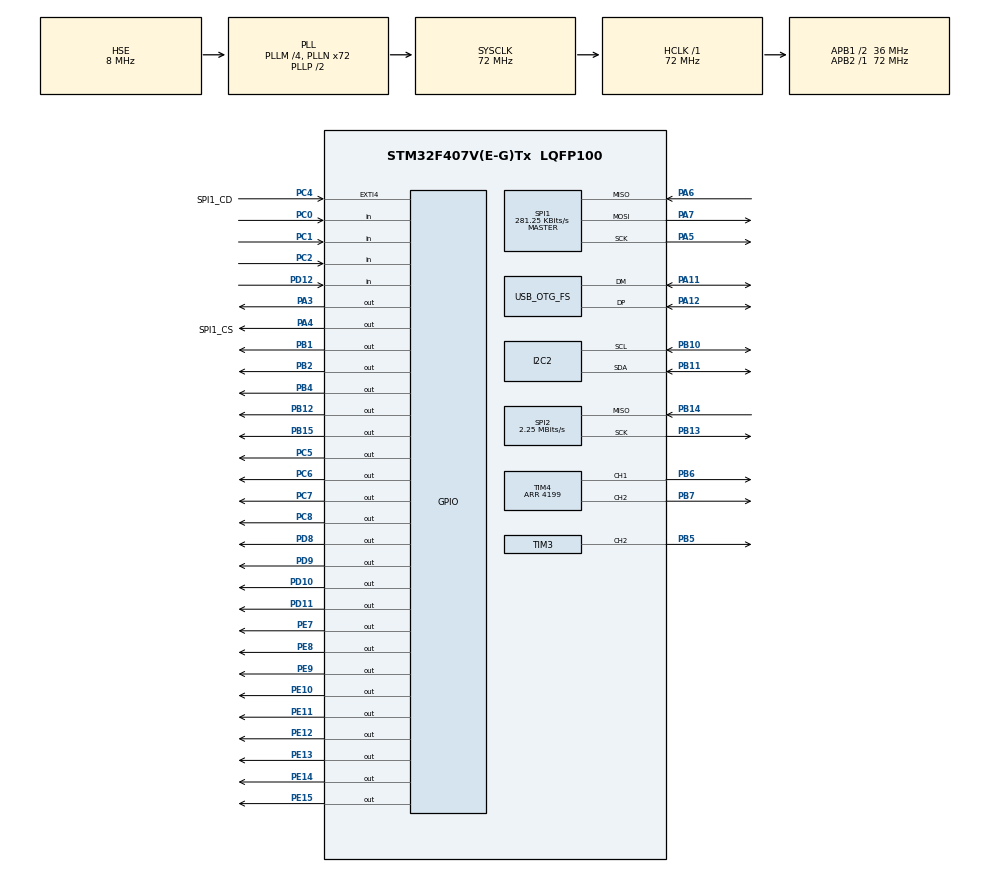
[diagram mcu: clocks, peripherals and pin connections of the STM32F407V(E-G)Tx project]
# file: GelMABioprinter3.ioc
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Dma.Request0=SPI2_RX
Dma.SPI2_RX.0.Direction=DMA_PERIPH_TO_MEMORY
Dma.SPI2_RX.0.FIFOMode=DMA_FIFOMODE_DISABLE
Dma.SPI2_RX.0.Instance=DMA1_Stream3
Dma.SPI2_RX.0.MemDataAlignment=DMA_MDATAALIGN_BYTE
Dma.SPI2_RX.0.MemInc=DMA_MINC_ENABLE
Dma.SPI2_RX.0.Mode=DMA_NORMAL
Dma.SPI2_RX.0.PeriphDataAlignment=DMA_PDATAALIGN_BYTE
Dma.SPI2_RX.0.PeriphInc=DMA_PINC_DISABLE
Dma.SPI2_RX.0.Priority=DMA_PRIORITY_LOW
Mcu.Family=STM32F4
Mcu.Name=STM32F407V(E-G)Tx
Mcu.Package=LQFP100
NVIC.DMA1_Stream3_IRQn=true\:0\:0\:false\:false\:true\:false\:true\:true
NVIC.OTG_FS_IRQn=true\:0\:0\:false\:false\:true\:false\:true\:true
NVIC.PriorityGroup=NVIC_PRIORITYGROUP_4
NVIC.TIM1_UP_TIM10_IRQn=true\:0\:0\:false\:false\:true\:true\:true\:true
PA11.Mode=Device_Only
PA11.Signal=USB_OTG_FS_DM
PA12.Mode=Device_Only
PA12.Signal=USB_OTG_FS_DP
PA13.Mode=Serial_Wire
PA13.Signal=SYS_JTMS-SWDIO
PA14.Mode=Serial_Wire
PA14.Signal=SYS_JTCK-SWCLK
PA3.GPIO_Speed=GPIO_SPEED_FREQ_LOW
PA3.Signal=GPIO_Output
PA4.GPIO_Label=SPI1_CS
PA4.GPIO_PuPd=GPIO_PULLUP
PA4.PinState=GPIO_PIN_SET
PA4.Signal=GPIO_Output
PA5.GPIO_PuPd=GPIO_PULLUP
PA5.Mode=Full_Duplex_Master
PA5.Signal=SPI1_SCK
PA6.GPIO_PuPd=GPIO_PULLUP
PA6.Mode=Full_Duplex_Master
PA6.Signal=SPI1_MISO
PA7.GPIO_PuPd=GPIO_PULLUP
PA7.Mode=Full_Duplex_Master
PA7.Signal=SPI1_MOSI
PB1.Signal=GPIO_Output
PB10.Mode=I2C
PB10.Signal=I2C2_SCL
PB11.Mode=I2C
PB11.Signal=I2C2_SDA
PB12.PinState=GPIO_PIN_SET
PB12.Signal=GPIO_Output
PB13.Mode=RX_Only_Simplex_Unidirect_Master
PB13.Signal=SPI2_SCK
PB14.Mode=RX_Only_Simplex_Unidirect_Master
PB14.Signal=SPI2_MISO
PB15.Signal=GPIO_Output
PB2.Signal=GPIO_Output
PB4.Signal=GPIO_Output
PB5.Signal=S_TIM3_CH2
PB6.Signal=S_TIM4_CH1
PB7.Signal=S_TIM4_CH2
PC0.GPIO_PuPd=GPIO_PULLUP
PC0.Signal=GPIO_Input
PC1.GPIO_PuPd=GPIO_PULLUP
PC1.Signal=GPIO_Input
PC2.GPIO_PuPd=GPIO_PULLUP
PC2.Signal=GPIO_Input
PC4.GPIO_Label=SPI1_CD
PC4.GPIO_ModeDefaultEXTI=GPIO_MODE_IT_RISING_FALLING
PC4.GPIO_PuPd=GPIO_PULLUP
PC4.Signal=GPXTI4
PC5.Signal=GPIO_Output
PC6.PinState=GPIO_PIN_SET
PC6.Signal=GPIO_Output
PC7.PinState=GPIO_PIN_SET
PC7.Signal=GPIO_Output
PC8.Signal=GPIO_Output
PD10.Signal=GPIO_Output
PD11.Signal=GPIO_Output
PD12.GPIO_PuPd=GPIO_PULLUP
PD12.Signal=GPIO_Input
PD8.PinState=GPIO_PIN_SET
PD8.Signal=GPIO_Output
PD9.Signal=GPIO_Output
PE10.Signal=GPIO_Output
PE11.GPIO_Speed=GPIO_SPEED_FREQ_LOW
PE11.Signal=GPIO_Output
PE12.Signal=GPIO_Output
PE13.GPIO_Speed=GPIO_SPEED_FREQ_LOW
PE13.Signal=GPIO_Output
PE14.GPIO_Speed=GPIO_SPEED_FREQ_LOW
PE14.Signal=GPIO_Output
PE15.Signal=GPIO_Output
PE7.PinState=GPIO_PIN_SET
PE7.Signal=GPIO_Output
PE8.Signal=GPIO_Output
PE9.GPIO_Speed=GPIO_SPEED_FREQ_LOW
PE9.Signal=GPIO_Output
PH0-OSC_IN.Mode=HSE-External-Oscillator
PH0-OSC_IN.Signal=RCC_OSC_IN
PH1-OSC_OUT.Mode=HSE-External-Oscillator
PH1-OSC_OUT.Signal=RCC_OSC_OUT
ProjectManager.HeapSize=0x200
ProjectManager.StackSize=0x400
ProjectManager.TargetToolchain=STM32CubeIDE
RCC.48MHZClocksFreq_Value=48000000
RCC.AHBFreq_Value=72000000
RCC.APB1CLKDivider=RCC_HCLK_DIV2
RCC.APB1Freq_Value=36000000
RCC.APB1TimFreq_Value=72000000
RCC.APB2Freq_Value=72000000
RCC.APB2TimFreq_Value=72000000
RCC.CortexFreq_Value=72000000
RCC.HCLKFreq_Value=72000000
RCC.HSE_VALUE=8000000
RCC.HSI_VALUE=16000000
RCC.LSE_VALUE=32768
RCC.PLLM=4
RCC.PLLN=72
RCC.PLLQ=3
RCC.SYSCLKFreq_VALUE=72000000
RCC.SYSCLKSource=RCC_SYSCLKSOURCE_PLLCLK
RCC.VCOOutputFreq_Value=144000000
SH.S_TIM3_CH2.0=TIM3_CH2,PWM Generation2 CH2
SH.S_TIM4_CH1.0=TIM4_CH1,PWM Generation1 CH1
SH.S_TIM4_CH2.0=TIM4_CH2,PWM Generation2 CH2
SPI1.BaudRatePrescaler=SPI_BAUDRATEPRESCALER_256
SPI1.CalculateBaudRate=281.25 KBits/s
SPI1.Direction=SPI_DIRECTION_2LINES
SPI1.Mode=SPI_MODE_MASTER
SPI1.VirtualType=VM_MASTER
SPI2.BaudRatePrescaler=SPI_BAUDRATEPRESCALER_16
SPI2.CLKPhase=SPI_PHASE_1EDGE
SPI2.CalculateBaudRate=2.25 MBits/s
SPI2.DataSize=SPI_DATASIZE_16BIT
SPI2.Direction=SPI_DIRECTION_2LINES_RXONLY
SPI2.Mode=SPI_MODE_MASTER
SPI2.VirtualType=VM_MASTER
TIM1.Period=65535
TIM1.Prescaler=167
TIM2.Period=65535
TIM2.Prescaler=71
TIM3.AutoReloadPreload=TIM_AUTORELOAD_PRELOAD_ENABLE
TIM3.Channel-PWM\ Generation2\ CH2=TIM_CHANNEL_2
TIM3.Period=4199
TIM4.AutoReloadPreload=TIM_AUTORELOAD_PRELOAD_ENABLE
TIM4.Channel-PWM\ Generation1\ CH1=TIM_CHANNEL_1
TIM4.Channel-PWM\ Generation2\ CH2=TIM_CHANNEL_2
TIM4.Period=4199
TIM5.Prescaler=83
USB_DEVICE.CLASS_NAME_FS=CDC
USB_DEVICE.VirtualMode-CDC_FS=Cdc
USB_DEVICE.VirtualModeFS=Cdc_FS
USB_OTG_FS.VirtualMode=Device_Only
VP_FATFS_VS_Generic.Mode=User_defined
VP_TIM1_VS_ClockSourceINT.Mode=Internal
VP_TIM2_VS_ClockSourceINT.Mode=Internal
VP_TIM3_VS_ClockSourceINT.Mode=Internal
VP_TIM4_VS_ClockSourceINT.Mode=Internal
VP_TIM5_VS_ClockSourceINT.Mode=Internal
VP_USB_DEVICE_VS_USB_DEVICE_CDC_FS.Mode=CDC_FS
board=custom

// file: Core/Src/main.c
/* USER CODE BEGIN Header */
/**
  ******************************************************************************
  * @file           : main.c
  * @brief          : Main program body
  ******************************************************************************
  * @attention
  *
  * Copyright (c) 2025 STMicroelectronics.
  * All rights reserved.
  *
  * This software is licensed under terms that can be found in the LICENSE file
  * in the root directory of this software component.
  * If no LICENSE file comes with this software, it is provided AS-IS.
  *
  ******************************************************************************
  */
/* USER CODE END Header */
#include "main.h"
#include "fatfs.h"
#include "usb_device.h"

/* USER CODE BEGIN Includes */
#include <math.h>
#include "string.h"
#include <stdarg.h>
#include <stdio.h>
#include "usbd_def.h"
#include "usbd_cdc_if.h"
#include "system_pins.h"
#include "delay_us.h"
#include "MAX6675.h"
#include "HX711.h"
/* USER CODE END Includes */

I2C_HandleTypeDef hi2c2;

SPI_HandleTypeDef hspi1;
SPI_HandleTypeDef hspi2;
DMA_HandleTypeDef hdma_spi2_rx;

TIM_HandleTypeDef htim1;
TIM_HandleTypeDef htim2;
TIM_HandleTypeDef htim3;
TIM_HandleTypeDef htim4;
TIM_HandleTypeDef htim5;

/* USER CODE BEGIN PV */
float Temp = 0;
/* USER CODE END PV */

void SystemClock_Config(void);
static void MX_GPIO_Init(void);
static void MX_DMA_Init(void);
static void MX_TIM1_Init(void);
static void MX_SPI2_Init(void);
static void MX_TIM2_Init(void);
static void MX_SPI1_Init(void);
static void MX_TIM3_Init(void);
static void MX_TIM4_Init(void);
static void MX_I2C2_Init(void);
static void MX_TIM5_Init(void);
/* USER CODE BEGIN PFP */
void Home(TIM_HandleTypeDef *htim_for_delay);
static void USB_Printf(const char *fmt, ...);
static void Task_StreamUSB(void);
void SystemTasks(void);

/* USER CODE END PFP */

/* USER CODE BEGIN 0 */

static uint32_t lastUsbTxMs = 0;

/* USER CODE END 0 */

int main(void)
{

  /* MCU Configuration--------------------------------------------------------*/

  /* Reset of all peripherals, Initializes the Flash interface and the Systick. */
  HAL_Init();

  /* Configure the system clock */
  SystemClock_Config();

  /* Initialize all configured peripherals */
  MX_GPIO_Init();
  MX_DMA_Init();
  MX_TIM1_Init();
  MX_USB_DEVICE_Init();
  MX_SPI2_Init();
  MX_TIM2_Init();
  MX_SPI1_Init();
  MX_FATFS_Init();
  MX_TIM3_Init();
  MX_TIM4_Init();
  MX_I2C2_Init();
  MX_TIM5_Init();
  /* USER CODE BEGIN 2 */

  HAL_TIM_Base_Start(&htim2);

  /* USER CODE END 2 */

  /* Infinite loop */
  /* USER CODE BEGIN WHILE */
  while (1)
  {
	Temp=Max6675_Read_Temp();

	SystemTasks();
    /* USER CODE END WHILE */

  }
}

void SystemClock_Config(void)
{
  RCC_OscInitTypeDef RCC_OscInitStruct = {0};
  RCC_ClkInitTypeDef RCC_ClkInitStruct = {0};

  /** Configure the main internal regulator output voltage
  */
  __HAL_RCC_PWR_CLK_ENABLE();
  __HAL_PWR_VOLTAGESCALING_CONFIG(PWR_REGULATOR_VOLTAGE_SCALE1);

  /** Initializes the RCC Oscillators according to the specified parameters
  * in the RCC_OscInitTypeDef structure.
  */
  RCC_OscInitStruct.OscillatorType = RCC_OSCILLATORTYPE_HSE;
  RCC_OscInitStruct.HSEState = RCC_HSE_ON;
  RCC_OscInitStruct.PLL.PLLState = RCC_PLL_ON;
  RCC_OscInitStruct.PLL.PLLSource = RCC_PLLSOURCE_HSE;
  RCC_OscInitStruct.PLL.PLLM = 4;
  RCC_OscInitStruct.PLL.PLLN = 72;
  RCC_OscInitStruct.PLL.PLLP = RCC_PLLP_DIV2;
  RCC_OscInitStruct.PLL.PLLQ = 3;
  if (HAL_RCC_OscConfig(&RCC_OscInitStruct) != HAL_OK)
  {
    Error_Handler();
  }

  /** Initializes the CPU, AHB and APB buses clocks
  */
  RCC_ClkInitStruct.ClockType = RCC_CLOCKTYPE_HCLK|RCC_CLOCKTYPE_SYSCLK
                              |RCC_CLOCKTYPE_PCLK1|RCC_CLOCKTYPE_PCLK2;
  RCC_ClkInitStruct.SYSCLKSource = RCC_SYSCLKSOURCE_PLLCLK;
  RCC_ClkInitStruct.AHBCLKDivider = RCC_SYSCLK_DIV1;
  RCC_ClkInitStruct.APB1CLKDivider = RCC_HCLK_DIV2;
  RCC_ClkInitStruct.APB2CLKDivider = RCC_HCLK_DIV1;

  if (HAL_RCC_ClockConfig(&RCC_ClkInitStruct, FLASH_LATENCY_2) != HAL_OK)
  {
    Error_Handler();
  }
}

static void MX_I2C2_Init(void)
{

  hi2c2.Instance = I2C2;
  hi2c2.Init.ClockSpeed = 100000;
  hi2c2.Init.DutyCycle = I2C_DUTYCYCLE_2;
  hi2c2.Init.OwnAddress1 = 0;
  hi2c2.Init.AddressingMode = I2C_ADDRESSINGMODE_7BIT;
  hi2c2.Init.DualAddressMode = I2C_DUALADDRESS_DISABLE;
  hi2c2.Init.OwnAddress2 = 0;
  hi2c2.Init.GeneralCallMode = I2C_GENERALCALL_DISABLE;
  hi2c2.Init.NoStretchMode = I2C_NOSTRETCH_DISABLE;
  if (HAL_I2C_Init(&hi2c2) != HAL_OK)
  {
    Error_Handler();
  }

}

static void MX_SPI1_Init(void)
{

  /* SPI1 parameter configuration*/
  hspi1.Instance = SPI1;
  hspi1.Init.Mode = SPI_MODE_MASTER;
  hspi1.Init.Direction = SPI_DIRECTION_2LINES;
  hspi1.Init.DataSize = SPI_DATASIZE_8BIT;
  hspi1.Init.CLKPolarity = SPI_POLARITY_LOW;
  hspi1.Init.CLKPhase = SPI_PHASE_1EDGE;
  hspi1.Init.NSS = SPI_NSS_SOFT;
  hspi1.Init.BaudRatePrescaler = SPI_BAUDRATEPRESCALER_256;
  hspi1.Init.FirstBit = SPI_FIRSTBIT_MSB;
  hspi1.Init.TIMode = SPI_TIMODE_DISABLE;
  hspi1.Init.CRCCalculation = SPI_CRCCALCULATION_DISABLE;
  hspi1.Init.CRCPolynomial = 10;
  if (HAL_SPI_Init(&hspi1) != HAL_OK)
  {
    Error_Handler();
  }

}

static void MX_SPI2_Init(void)
{

  /* SPI2 parameter configuration*/
  hspi2.Instance = SPI2;
  hspi2.Init.Mode = SPI_MODE_MASTER;
  hspi2.Init.Direction = SPI_DIRECTION_2LINES_RXONLY;
  hspi2.Init.DataSize = SPI_DATASIZE_16BIT;
  hspi2.Init.CLKPolarity = SPI_POLARITY_LOW;
  hspi2.Init.CLKPhase = SPI_PHASE_1EDGE;
  hspi2.Init.NSS = SPI_NSS_SOFT;
  hspi2.Init.BaudRatePrescaler = SPI_BAUDRATEPRESCALER_16;
  hspi2.Init.FirstBit = SPI_FIRSTBIT_MSB;
  hspi2.Init.TIMode = SPI_TIMODE_DISABLE;
  hspi2.Init.CRCCalculation = SPI_CRCCALCULATION_DISABLE;
  hspi2.Init.CRCPolynomial = 10;
  if (HAL_SPI_Init(&hspi2) != HAL_OK)
  {
    Error_Handler();
  }

}

static void MX_TIM1_Init(void)
{

  TIM_ClockConfigTypeDef sClockSourceConfig = {0};
  TIM_MasterConfigTypeDef sMasterConfig = {0};

  htim1.Instance = TIM1;
  htim1.Init.Prescaler = 167;
  htim1.Init.CounterMode = TIM_COUNTERMODE_UP;
  htim1.Init.Period = 65535;
  htim1.Init.ClockDivision = TIM_CLOCKDIVISION_DIV1;
  htim1.Init.RepetitionCounter = 0;
  htim1.Init.AutoReloadPreload = TIM_AUTORELOAD_PRELOAD_DISABLE;
  if (HAL_TIM_Base_Init(&htim1) != HAL_OK)
  {
    Error_Handler();
  }
  sClockSourceConfig.ClockSource = TIM_CLOCKSOURCE_INTERNAL;
  if (HAL_TIM_ConfigClockSource(&htim1, &sClockSourceConfig) != HAL_OK)
  {
    Error_Handler();
  }
  sMasterConfig.MasterOutputTrigger = TIM_TRGO_RESET;
  sMasterConfig.MasterSlaveMode = TIM_MASTERSLAVEMODE_DISABLE;
  if (HAL_TIMEx_MasterConfigSynchronization(&htim1, &sMasterConfig) != HAL_OK)
  {
    Error_Handler();
  }

}

static void MX_TIM2_Init(void)
{

  TIM_ClockConfigTypeDef sClockSourceConfig = {0};
  TIM_MasterConfigTypeDef sMasterConfig = {0};

  htim2.Instance = TIM2;
  htim2.Init.Prescaler = 71;
  htim2.Init.CounterMode = TIM_COUNTERMODE_UP;
  htim2.Init.Period = 65535;
  htim2.Init.ClockDivision = TIM_CLOCKDIVISION_DIV1;
  htim2.Init.AutoReloadPreload = TIM_AUTORELOAD_PRELOAD_DISABLE;
  if (HAL_TIM_Base_Init(&htim2) != HAL_OK)
  {
    Error_Handler();
  }
  sClockSourceConfig.ClockSource = TIM_CLOCKSOURCE_INTERNAL;
  if (HAL_TIM_ConfigClockSource(&htim2, &sClockSourceConfig) != HAL_OK)
  {
    Error_Handler();
  }
  sMasterConfig.MasterOutputTrigger = TIM_TRGO_RESET;
  sMasterConfig.MasterSlaveMode = TIM_MASTERSLAVEMODE_DISABLE;
  if (HAL_TIMEx_MasterConfigSynchronization(&htim2, &sMasterConfig) != HAL_OK)
  {
    Error_Handler();
  }

}

static void MX_TIM3_Init(void)
{

  TIM_ClockConfigTypeDef sClockSourceConfig = {0};
  TIM_MasterConfigTypeDef sMasterConfig = {0};
  TIM_OC_InitTypeDef sConfigOC = {0};

  htim3.Instance = TIM3;
  htim3.Init.Prescaler = 0;
  htim3.Init.CounterMode = TIM_COUNTERMODE_UP;
  htim3.Init.Period = 4199;
  htim3.Init.ClockDivision = TIM_CLOCKDIVISION_DIV1;
  htim3.Init.AutoReloadPreload = TIM_AUTORELOAD_PRELOAD_ENABLE;
  if (HAL_TIM_Base_Init(&htim3) != HAL_OK)
  {
    Error_Handler();
  }
  sClockSourceConfig.ClockSource = TIM_CLOCKSOURCE_INTERNAL;
  if (HAL_TIM_ConfigClockSource(&htim3, &sClockSourceConfig) != HAL_OK)
  {
    Error_Handler();
  }
  if (HAL_TIM_PWM_Init(&htim3) != HAL_OK)
  {
    Error_Handler();
  }
  sMasterConfig.MasterOutputTrigger = TIM_TRGO_RESET;
  sMasterConfig.MasterSlaveMode = TIM_MASTERSLAVEMODE_DISABLE;
  if (HAL_TIMEx_MasterConfigSynchronization(&htim3, &sMasterConfig) != HAL_OK)
  {
    Error_Handler();
  }
  sConfigOC.OCMode = TIM_OCMODE_PWM1;
  sConfigOC.Pulse = 0;
  sConfigOC.OCPolarity = TIM_OCPOLARITY_HIGH;
  sConfigOC.OCFastMode = TIM_OCFAST_DISABLE;
  if (HAL_TIM_PWM_ConfigChannel(&htim3, &sConfigOC, TIM_CHANNEL_2) != HAL_OK)
  {
    Error_Handler();
  }
  HAL_TIM_MspPostInit(&htim3);

}

static void MX_TIM4_Init(void)
{

  TIM_ClockConfigTypeDef sClockSourceConfig = {0};
  TIM_MasterConfigTypeDef sMasterConfig = {0};
  TIM_OC_InitTypeDef sConfigOC = {0};

  htim4.Instance = TIM4;
  htim4.Init.Prescaler = 0;
  htim4.Init.CounterMode = TIM_COUNTERMODE_UP;
  htim4.Init.Period = 4199;
  htim4.Init.ClockDivision = TIM_CLOCKDIVISION_DIV1;
  htim4.Init.AutoReloadPreload = TIM_AUTORELOAD_PRELOAD_ENABLE;
  if (HAL_TIM_Base_Init(&htim4) != HAL_OK)
  {
    Error_Handler();
  }
  sClockSourceConfig.ClockSource = TIM_CLOCKSOURCE_INTERNAL;
  if (HAL_TIM_ConfigClockSource(&htim4, &sClockSourceConfig) != HAL_OK)
  {
    Error_Handler();
  }
  if (HAL_TIM_PWM_Init(&htim4) != HAL_OK)
  {
    Error_Handler();
  }
  sMasterConfig.MasterOutputTrigger = TIM_TRGO_RESET;
  sMasterConfig.MasterSlaveMode = TIM_MASTERSLAVEMODE_DISABLE;
  if (HAL_TIMEx_MasterConfigSynchronization(&htim4, &sMasterConfig) != HAL_OK)
  {
    Error_Handler();
  }
  sConfigOC.OCMode = TIM_OCMODE_PWM1;
  sConfigOC.Pulse = 0;
  sConfigOC.OCPolarity = TIM_OCPOLARITY_HIGH;
  sConfigOC.OCFastMode = TIM_OCFAST_DISABLE;
  if (HAL_TIM_PWM_ConfigChannel(&htim4, &sConfigOC, TIM_CHANNEL_1) != HAL_OK)
  {
    Error_Handler();
  }
  if (HAL_TIM_PWM_ConfigChannel(&htim4, &sConfigOC, TIM_CHANNEL_2) != HAL_OK)
  {
    Error_Handler();
  }
  HAL_TIM_MspPostInit(&htim4);

}

static void MX_TIM5_Init(void)
{

  TIM_ClockConfigTypeDef sClockSourceConfig = {0};
  TIM_MasterConfigTypeDef sMasterConfig = {0};

  htim5.Instance = TIM5;
  htim5.Init.Prescaler = 83;
  htim5.Init.CounterMode = TIM_COUNTERMODE_UP;
  htim5.Init.Period = 4294967295;
  htim5.Init.ClockDivision = TIM_CLOCKDIVISION_DIV1;
  htim5.Init.AutoReloadPreload = TIM_AUTORELOAD_PRELOAD_DISABLE;
  if (HAL_TIM_Base_Init(&htim5) != HAL_OK)
  {
    Error_Handler();
  }
  sClockSourceConfig.ClockSource = TIM_CLOCKSOURCE_INTERNAL;
  if (HAL_TIM_ConfigClockSource(&htim5, &sClockSourceConfig) != HAL_OK)
  {
    Error_Handler();
  }
  sMasterConfig.MasterOutputTrigger = TIM_TRGO_RESET;
  sMasterConfig.MasterSlaveMode = TIM_MASTERSLAVEMODE_DISABLE;
  if (HAL_TIMEx_MasterConfigSynchronization(&htim5, &sMasterConfig) != HAL_OK)
  {
    Error_Handler();
  }

}

static void MX_DMA_Init(void)
{

  /* DMA controller clock enable */
  __HAL_RCC_DMA1_CLK_ENABLE();

  /* DMA interrupt init */
  /* DMA1_Stream3_IRQn interrupt configuration */
  HAL_NVIC_SetPriority(DMA1_Stream3_IRQn, 0, 0);
  HAL_NVIC_EnableIRQ(DMA1_Stream3_IRQn);

}

static void MX_GPIO_Init(void)
{
  GPIO_InitTypeDef GPIO_InitStruct = {0};

  /* GPIO Ports Clock Enable */
  __HAL_RCC_GPIOH_CLK_ENABLE();
  __HAL_RCC_GPIOC_CLK_ENABLE();
  __HAL_RCC_GPIOA_CLK_ENABLE();
  __HAL_RCC_GPIOB_CLK_ENABLE();
  __HAL_RCC_GPIOE_CLK_ENABLE();
  __HAL_RCC_GPIOD_CLK_ENABLE();

  /*Configure GPIO pin Output Level */
  HAL_GPIO_WritePin(GPIOA, GPIO_PIN_3, GPIO_PIN_RESET);

  /*Configure GPIO pin Output Level */
  HAL_GPIO_WritePin(SPI1_CS_GPIO_Port, SPI1_CS_Pin, GPIO_PIN_SET);

  /*Configure GPIO pin Output Level */
  HAL_GPIO_WritePin(GPIOC, GPIO_PIN_5|GPIO_PIN_8, GPIO_PIN_RESET);

  /*Configure GPIO pin Output Level */
  HAL_GPIO_WritePin(GPIOB, GPIO_PIN_1|GPIO_PIN_2|GPIO_PIN_15|GPIO_PIN_4, GPIO_PIN_RESET);

  /*Configure GPIO pin Output Level */
  HAL_GPIO_WritePin(GPIOE, GPIO_PIN_7, GPIO_PIN_SET);

  /*Configure GPIO pin Output Level */
  HAL_GPIO_WritePin(GPIOE, GPIO_PIN_8|GPIO_PIN_9|GPIO_PIN_10|GPIO_PIN_11
                          |GPIO_PIN_12|GPIO_PIN_13|GPIO_PIN_14|GPIO_PIN_15, GPIO_PIN_RESET);

  /*Configure GPIO pin Output Level */
  HAL_GPIO_WritePin(GPIOB, GPIO_PIN_12, GPIO_PIN_SET);

  /*Configure GPIO pin Output Level */
  HAL_GPIO_WritePin(GPIOD, GPIO_PIN_8, GPIO_PIN_SET);

  /*Configure GPIO pin Output Level */
  HAL_GPIO_WritePin(GPIOD, GPIO_PIN_9|GPIO_PIN_10|GPIO_PIN_11, GPIO_PIN_RESET);

  /*Configure GPIO pin Output Level */
  HAL_GPIO_WritePin(GPIOC, GPIO_PIN_6|GPIO_PIN_7, GPIO_PIN_SET);

  /*Configure GPIO pins : PC0 PC1 PC2 */
  GPIO_InitStruct.Pin = GPIO_PIN_0|GPIO_PIN_1|GPIO_PIN_2;
  GPIO_InitStruct.Mode = GPIO_MODE_INPUT;
  GPIO_InitStruct.Pull = GPIO_PULLUP;
  HAL_GPIO_Init(GPIOC, &GPIO_InitStruct);

  /*Configure GPIO pin : PA3 */
  GPIO_InitStruct.Pin = GPIO_PIN_3;
  GPIO_InitStruct.Mode = GPIO_MODE_OUTPUT_PP;
  GPIO_InitStruct.Pull = GPIO_NOPULL;
  GPIO_InitStruct.Speed = GPIO_SPEED_FREQ_LOW;
  HAL_GPIO_Init(GPIOA, &GPIO_InitStruct);

  /*Configure GPIO pin : SPI1_CS_Pin */
  GPIO_InitStruct.Pin = SPI1_CS_Pin;
  GPIO_InitStruct.Mode = GPIO_MODE_OUTPUT_PP;
  GPIO_InitStruct.Pull = GPIO_PULLUP;
  GPIO_InitStruct.Speed = GPIO_SPEED_FREQ_LOW;
  HAL_GPIO_Init(SPI1_CS_GPIO_Port, &GPIO_InitStruct);

  /*Configure GPIO pin : SPI1_CD_Pin */
  GPIO_InitStruct.Pin = SPI1_CD_Pin;
  GPIO_InitStruct.Mode = GPIO_MODE_IT_RISING_FALLING;
  GPIO_InitStruct.Pull = GPIO_PULLUP;
  HAL_GPIO_Init(SPI1_CD_GPIO_Port, &GPIO_InitStruct);

  /*Configure GPIO pins : PC5 PC6 PC7 PC8 */
  GPIO_InitStruct.Pin = GPIO_PIN_5|GPIO_PIN_6|GPIO_PIN_7|GPIO_PIN_8;
  GPIO_InitStruct.Mode = GPIO_MODE_OUTPUT_PP;
  GPIO_InitStruct.Pull = GPIO_NOPULL;
  GPIO_InitStruct.Speed = GPIO_SPEED_FREQ_LOW;
  HAL_GPIO_Init(GPIOC, &GPIO_InitStruct);

  /*Configure GPIO pins : PB1 PB2 PB12 PB15
                           PB4 */
  GPIO_InitStruct.Pin = GPIO_PIN_1|GPIO_PIN_2|GPIO_PIN_12|GPIO_PIN_15
                          |GPIO_PIN_4;
  GPIO_InitStruct.Mode = GPIO_MODE_OUTPUT_PP;
  GPIO_InitStruct.Pull = GPIO_NOPULL;
  GPIO_InitStruct.Speed = GPIO_SPEED_FREQ_LOW;
  HAL_GPIO_Init(GPIOB, &GPIO_InitStruct);

  /*Configure GPIO pins : PE7 PE8 PE9 PE10
                           PE11 PE12 PE13 PE14
                           PE15 */
  GPIO_InitStruct.Pin = GPIO_PIN_7|GPIO_PIN_8|GPIO_PIN_9|GPIO_PIN_10
                          |GPIO_PIN_11|GPIO_PIN_12|GPIO_PIN_13|GPIO_PIN_14
                          |GPIO_PIN_15;
  GPIO_InitStruct.Mode = GPIO_MODE_OUTPUT_PP;
  GPIO_InitStruct.Pull = GPIO_NOPULL;
  GPIO_InitStruct.Speed = GPIO_SPEED_FREQ_LOW;
  HAL_GPIO_Init(GPIOE, &GPIO_InitStruct);

  /*Configure GPIO pins : PD8 PD9 PD10 PD11 */
  GPIO_InitStruct.Pin = GPIO_PIN_8|GPIO_PIN_9|GPIO_PIN_10|GPIO_PIN_11;
  GPIO_InitStruct.Mode = GPIO_MODE_OUTPUT_PP;
  GPIO_InitStruct.Pull = GPIO_NOPULL;
  GPIO_InitStruct.Speed = GPIO_SPEED_FREQ_LOW;
  HAL_GPIO_Init(GPIOD, &GPIO_InitStruct);

  /*Configure GPIO pin : PD12 */
  GPIO_InitStruct.Pin = GPIO_PIN_12;
  GPIO_InitStruct.Mode = GPIO_MODE_INPUT;
  GPIO_InitStruct.Pull = GPIO_PULLUP;
  HAL_GPIO_Init(GPIOD, &GPIO_InitStruct);

}

/* USER CODE BEGIN 4 */
static void USB_Printf(const char *fmt, ...)
{
  static char buf[512];
  va_list ap;
  va_start(ap, fmt);
  int n = vsnprintf(buf, sizeof(buf), fmt, ap);
  va_end(ap);
  if (n < 0) return;
  if (n >= (int)sizeof(buf)) n = (int)sizeof(buf) - 1;
  (void)CDC_Transmit_FS((uint8_t*)buf, (uint16_t)n);
}
static void Task_StreamUSB(void)
{
  uint32_t now = HAL_GetTick();
  if ((now - lastUsbTxMs) >= 1000U) {

    USB_Printf(
      "Temp=%.2fC\n",Temp);

    lastUsbTxMs = now;
  }
}

void SystemTasks(void)
{
  Task_StreamUSB();
}

/* USER CODE END 4 */

void Error_Handler(void)
{
  __disable_irq();
  while (1)
  {
  }
}
